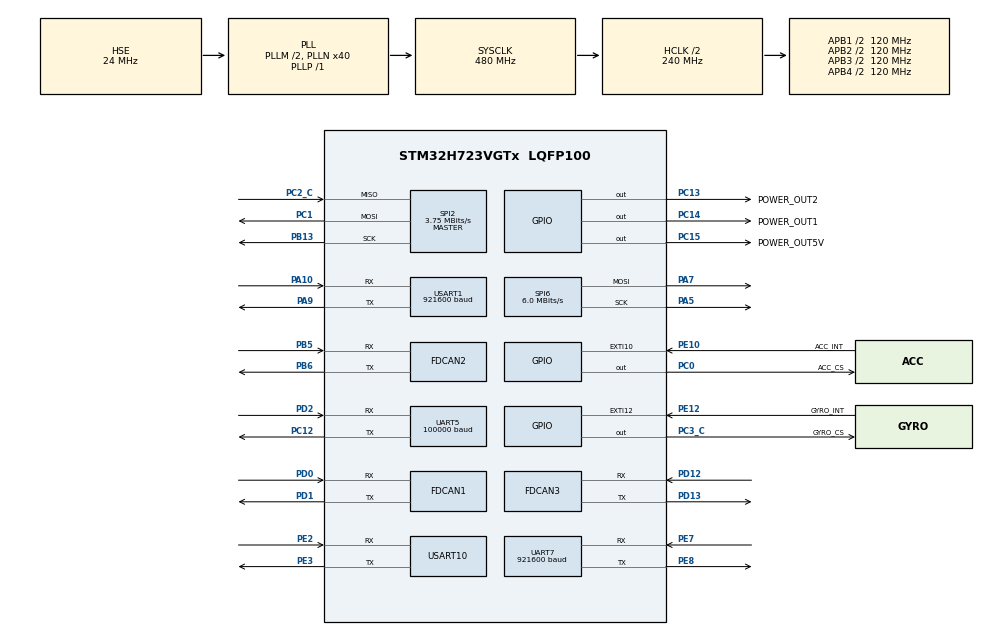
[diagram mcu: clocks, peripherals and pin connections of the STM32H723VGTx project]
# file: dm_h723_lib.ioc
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CORTEX_M7.CPU_ICache=Enabled
CORTEX_M7.default_mode_Activation=0
Dma.Request0=UART5_RX
Dma.Request1=SPI2_RX
Dma.Request2=SPI2_TX
Dma.Request3=UART7_RX
Dma.Request4=UART7_TX
Dma.SPI2_RX.1.Direction=DMA_PERIPH_TO_MEMORY
Dma.SPI2_RX.1.EventEnable=DISABLE
Dma.SPI2_RX.1.FIFOMode=DMA_FIFOMODE_DISABLE
Dma.SPI2_RX.1.Instance=DMA1_Stream0
Dma.SPI2_RX.1.MemDataAlignment=DMA_MDATAALIGN_BYTE
Dma.SPI2_RX.1.MemInc=DMA_MINC_ENABLE
Dma.SPI2_RX.1.Mode=DMA_NORMAL
Dma.SPI2_RX.1.PeriphDataAlignment=DMA_PDATAALIGN_BYTE
Dma.SPI2_RX.1.PeriphInc=DMA_PINC_DISABLE
Dma.SPI2_RX.1.Polarity=HAL_DMAMUX_REQ_GEN_RISING
Dma.SPI2_RX.1.Priority=DMA_PRIORITY_VERY_HIGH
Dma.SPI2_RX.1.RequestNumber=1
Dma.SPI2_RX.1.SignalID=NONE
Dma.SPI2_RX.1.SyncEnable=DISABLE
Dma.SPI2_RX.1.SyncPolarity=HAL_DMAMUX_SYNC_NO_EVENT
Dma.SPI2_RX.1.SyncRequestNumber=1
Dma.SPI2_RX.1.SyncSignalID=NONE
Dma.SPI2_TX.2.Direction=DMA_MEMORY_TO_PERIPH
Dma.SPI2_TX.2.EventEnable=DISABLE
Dma.SPI2_TX.2.FIFOMode=DMA_FIFOMODE_DISABLE
Dma.SPI2_TX.2.Instance=DMA1_Stream1
Dma.SPI2_TX.2.MemDataAlignment=DMA_MDATAALIGN_BYTE
Dma.SPI2_TX.2.MemInc=DMA_MINC_ENABLE
Dma.SPI2_TX.2.Mode=DMA_NORMAL
Dma.SPI2_TX.2.PeriphDataAlignment=DMA_PDATAALIGN_BYTE
Dma.SPI2_TX.2.PeriphInc=DMA_PINC_DISABLE
Dma.SPI2_TX.2.Polarity=HAL_DMAMUX_REQ_GEN_RISING
Dma.SPI2_TX.2.Priority=DMA_PRIORITY_HIGH
Dma.SPI2_TX.2.RequestNumber=1
Dma.SPI2_TX.2.SignalID=NONE
Dma.SPI2_TX.2.SyncEnable=DISABLE
Dma.SPI2_TX.2.SyncPolarity=HAL_DMAMUX_SYNC_NO_EVENT
Dma.SPI2_TX.2.SyncRequestNumber=1
Dma.SPI2_TX.2.SyncSignalID=NONE
Dma.UART5_RX.0.Direction=DMA_PERIPH_TO_MEMORY
Dma.UART5_RX.0.EventEnable=DISABLE
Dma.UART5_RX.0.FIFOMode=DMA_FIFOMODE_DISABLE
Dma.UART5_RX.0.Instance=DMA1_Stream2
Dma.UART5_RX.0.MemDataAlignment=DMA_MDATAALIGN_BYTE
Dma.UART5_RX.0.MemInc=DMA_MINC_ENABLE
Dma.UART5_RX.0.Mode=DMA_NORMAL
Dma.UART5_RX.0.PeriphDataAlignment=DMA_PDATAALIGN_BYTE
Dma.UART5_RX.0.PeriphInc=DMA_PINC_DISABLE
Dma.UART5_RX.0.Polarity=HAL_DMAMUX_REQ_GEN_RISING
Dma.UART5_RX.0.Priority=DMA_PRIORITY_VERY_HIGH
Dma.UART5_RX.0.RequestNumber=1
Dma.UART5_RX.0.SignalID=NONE
Dma.UART5_RX.0.SyncEnable=DISABLE
Dma.UART5_RX.0.SyncPolarity=HAL_DMAMUX_SYNC_NO_EVENT
Dma.UART5_RX.0.SyncRequestNumber=1
Dma.UART5_RX.0.SyncSignalID=NONE
Dma.UART7_RX.3.Direction=DMA_PERIPH_TO_MEMORY
Dma.UART7_RX.3.EventEnable=DISABLE
Dma.UART7_RX.3.FIFOMode=DMA_FIFOMODE_DISABLE
Dma.UART7_RX.3.Instance=DMA1_Stream3
Dma.UART7_RX.3.MemDataAlignment=DMA_MDATAALIGN_BYTE
Dma.UART7_RX.3.MemInc=DMA_MINC_ENABLE
Dma.UART7_RX.3.Mode=DMA_NORMAL
Dma.UART7_RX.3.PeriphDataAlignment=DMA_PDATAALIGN_BYTE
Dma.UART7_RX.3.PeriphInc=DMA_PINC_DISABLE
Dma.UART7_RX.3.Polarity=HAL_DMAMUX_REQ_GEN_RISING
Dma.UART7_RX.3.Priority=DMA_PRIORITY_VERY_HIGH
Dma.UART7_RX.3.RequestNumber=1
Dma.UART7_RX.3.SignalID=NONE
Dma.UART7_RX.3.SyncEnable=DISABLE
Dma.UART7_RX.3.SyncPolarity=HAL_DMAMUX_SYNC_NO_EVENT
Dma.UART7_RX.3.SyncRequestNumber=1
Dma.UART7_RX.3.SyncSignalID=NONE
Dma.UART7_TX.4.Direction=DMA_MEMORY_TO_PERIPH
Dma.UART7_TX.4.EventEnable=DISABLE
Dma.UART7_TX.4.FIFOMode=DMA_FIFOMODE_DISABLE
Dma.UART7_TX.4.Instance=DMA1_Stream4
Dma.UART7_TX.4.MemDataAlignment=DMA_MDATAALIGN_BYTE
Dma.UART7_TX.4.MemInc=DMA_MINC_ENABLE
Dma.UART7_TX.4.Mode=DMA_NORMAL
Dma.UART7_TX.4.PeriphDataAlignment=DMA_PDATAALIGN_BYTE
Dma.UART7_TX.4.PeriphInc=DMA_PINC_DISABLE
Dma.UART7_TX.4.Polarity=HAL_DMAMUX_REQ_GEN_RISING
Dma.UART7_TX.4.Priority=DMA_PRIORITY_VERY_HIGH
Dma.UART7_TX.4.RequestNumber=1
Dma.UART7_TX.4.SignalID=NONE
Dma.UART7_TX.4.SyncEnable=DISABLE
Dma.UART7_TX.4.SyncPolarity=HAL_DMAMUX_SYNC_NO_EVENT
Dma.UART7_TX.4.SyncRequestNumber=1
Dma.UART7_TX.4.SyncSignalID=NONE
FDCAN1.CalculateBaudRateNominal=1000000
FDCAN1.CalculateTimeBitNominal=1000
FDCAN1.CalculateTimeQuantumNominal=25.0
FDCAN1.DataPrescaler=3
FDCAN1.DataSyncJumpWidth=10
FDCAN1.DataTimeSeg1=29
FDCAN1.DataTimeSeg2=10
FDCAN1.NominalPrescaler=3
FDCAN1.NominalSyncJumpWidth=10
FDCAN1.NominalTimeSeg1=29
FDCAN1.NominalTimeSeg2=10
FDCAN1.RxFifo0ElmtsNbr=32
FDCAN1.StdFiltersNbr=1
FDCAN1.TxFifoQueueElmtsNbr=32
FDCAN2.CalculateBaudRateNominal=1000000
FDCAN2.CalculateTimeBitNominal=1000
FDCAN2.CalculateTimeQuantumNominal=25.0
FDCAN2.DataPrescaler=3
FDCAN2.DataSyncJumpWidth=10
FDCAN2.DataTimeSeg1=29
FDCAN2.DataTimeSeg2=10
FDCAN2.MessageRAMOffset=852
FDCAN2.NominalPrescaler=3
FDCAN2.NominalSyncJumpWidth=10
FDCAN2.NominalTimeSeg1=29
FDCAN2.NominalTimeSeg2=10
FDCAN2.RxFifo0ElmtsNbr=32
FDCAN2.StdFiltersNbr=1
FDCAN2.TxFifoQueueElmtsNbr=32
FDCAN3.CalculateBaudRateNominal=1000000
FDCAN3.CalculateTimeBitNominal=1000
FDCAN3.CalculateTimeQuantumNominal=25.0
FDCAN3.DataPrescaler=3
FDCAN3.DataSyncJumpWidth=10
FDCAN3.DataTimeSeg1=29
FDCAN3.DataTimeSeg2=10
FDCAN3.MessageRAMOffset=1704
FDCAN3.NominalPrescaler=3
FDCAN3.NominalSyncJumpWidth=10
FDCAN3.NominalTimeSeg1=29
FDCAN3.NominalTimeSeg2=10
FDCAN3.RxFifo0ElmtsNbr=32
FDCAN3.StdFiltersNbr=1
FDCAN3.TxFifoQueueElmtsNbr=32
FREERTOS.Tasks01=defaultTask,0,128,StartDefaultTask,Default,NULL,Dynamic,NULL,NULL;debug_uart,-3,1024,DEBUG_UART_TASK,As weak,NULL,Dynamic,NULL,NULL;led,-3,128,LED_TASK,As weak,NULL,Dynamic,NULL,NULL;get_rc,-3,256,GET_RC_TASK,As weak,NULL,Dynamic,NULL,NULL;imu_data,-3,1024,IMU_DATA_GET,As weak,NULL,Dynamic,NULL,NULL;can_sent,-3,256,CAN_SENT_TASK,As weak,NULL,Dynamic,NULL,NULL;shoot_task,-3,128,SHOOT_TASK,As weak,NULL,Dynamic,NULL,NULL;stop_check,-3,128,SHOOOT_STOP_CHECK,As weak,NULL,Dynamic,NULL,NULL;chassis_task,-3,1024,CHASSIS_TASK,As weak,NULL,Dynamic,NULL,NULL;error_check,-3,256,ERROR_DETECTION,As weak,NULL,Dynamic,NULL,NULL;board_communica,-3,256,BOARD_COMMUNICATION_TASK,As weak,NULL,Dynamic,NULL,NULL
FREERTOS.configTOTAL_HEAP_SIZE=30000
FREERTOS.configUSE_NEWLIB_REENTRANT=1
Mcu.Family=STM32H7
Mcu.Name=STM32H723VGTx
Mcu.Package=LQFP100
NVIC.DMA1_Stream0_IRQn=true\:5\:0\:false\:false\:true\:true\:false\:true\:true
NVIC.DMA1_Stream1_IRQn=true\:5\:0\:false\:false\:true\:true\:false\:true\:true
NVIC.DMA1_Stream2_IRQn=true\:5\:0\:false\:false\:true\:true\:false\:true\:true
NVIC.DMA1_Stream3_IRQn=true\:5\:0\:false\:false\:true\:true\:false\:true\:true
NVIC.DMA1_Stream4_IRQn=true\:5\:0\:false\:false\:true\:true\:false\:true\:true
NVIC.FDCAN1_IT0_IRQn=true\:5\:0\:false\:false\:true\:true\:true\:true\:true
NVIC.FDCAN2_IT0_IRQn=true\:5\:0\:false\:false\:true\:true\:true\:true\:true
NVIC.FDCAN3_IT0_IRQn=true\:5\:0\:false\:false\:true\:true\:true\:true\:true
NVIC.PriorityGroup=NVIC_PRIORITYGROUP_4
NVIC.SPI2_IRQn=true\:5\:0\:false\:false\:true\:true\:true\:true\:true
NVIC.TIM7_IRQn=true\:15\:0\:false\:false\:true\:false\:false\:true\:true
NVIC.TimeBase=TIM7_IRQn
NVIC.TimeBaseIP=TIM7
NVIC.UART5_IRQn=true\:5\:0\:false\:false\:true\:true\:true\:true\:true
NVIC.UART7_IRQn=true\:5\:0\:false\:false\:true\:true\:true\:true\:true
NVIC.USART10_IRQn=true\:5\:0\:false\:false\:true\:true\:true\:true\:true
PA10.Mode=Asynchronous
PA10.Signal=USART1_RX
PA13(JTMS/SWDIO).Mode=Serial_Wire
PA13(JTMS/SWDIO).Signal=DEBUG_JTMS-SWDIO
PA14(JTCK/SWCLK).Mode=Serial_Wire
PA14(JTCK/SWCLK).Signal=DEBUG_JTCK-SWCLK
PA5.Mode=TX_Only_Simplex_Unidirect_Master
PA5.Signal=SPI6_SCK
PA7.Mode=TX_Only_Simplex_Unidirect_Master
PA7.Signal=SPI6_MOSI
PA9.Mode=Asynchronous
PA9.Signal=USART1_TX
PB13.Mode=Full_Duplex_Master
PB13.Signal=SPI2_SCK
PB5.Mode=FDCAN_Activate
PB5.Signal=FDCAN2_RX
PB6.Mode=FDCAN_Activate
PB6.Signal=FDCAN2_TX
PC0.GPIO_Label=ACC_CS
PC0.GPIO_Speed=GPIO_SPEED_FREQ_VERY_HIGH
PC0.PinState=GPIO_PIN_SET
PC0.Signal=GPIO_Output
PC1.Mode=Full_Duplex_Master
PC1.Signal=SPI2_MOSI
PC12.Mode=Asynchronous
PC12.Signal=UART5_TX
PC13.GPIO_Label=POWER_OUT2
PC13.PinState=GPIO_PIN_SET
PC13.Signal=GPIO_Output
PC14-OSC32_IN.GPIO_Label=POWER_OUT1
PC14-OSC32_IN.PinState=GPIO_PIN_SET
PC14-OSC32_IN.Signal=GPIO_Output
PC15-OSC32_OUT.GPIO_Label=POWER_OUT5V
PC15-OSC32_OUT.PinState=GPIO_PIN_SET
PC15-OSC32_OUT.Signal=GPIO_Output
PC2_C.Mode=Full_Duplex_Master
PC2_C.Signal=SPI2_MISO
PC3_C.GPIO_Label=GYRO_CS
PC3_C.GPIO_Speed=GPIO_SPEED_FREQ_VERY_HIGH
PC3_C.PinState=GPIO_PIN_SET
PC3_C.Signal=GPIO_Output
PD0.Mode=FDCAN_Activate
PD0.Signal=FDCAN1_RX
PD1.Mode=FDCAN_Activate
PD1.Signal=FDCAN1_TX
PD12.Mode=FDCAN_Activate
PD12.Signal=FDCAN3_RX
PD13.Mode=FDCAN_Activate
PD13.Signal=FDCAN3_TX
PD2.Mode=Asynchronous
PD2.Signal=UART5_RX
PE10.GPIO_Label=ACC_INT
PE10.Signal=GPXTI10
PE12.GPIO_Label=GYRO_INT
PE12.Signal=GPXTI12
PE2.Mode=Asynchronous
PE2.Signal=USART10_RX
PE3.Mode=Asynchronous
PE3.Signal=USART10_TX
PE7.Mode=Asynchronous
PE7.Signal=UART7_RX
PE8.Mode=Asynchronous
PE8.Signal=UART7_TX
PH0-OSC_IN.Mode=HSE-External-Oscillator
PH0-OSC_IN.Signal=RCC_OSC_IN
PH1-OSC_OUT.Mode=HSE-External-Oscillator
PH1-OSC_OUT.Signal=RCC_OSC_OUT
ProjectManager.HeapSize=0x200
ProjectManager.StackSize=0x400
ProjectManager.TargetToolchain=STM32CubeIDE
RCC.ADCFreq_Value=96000000
RCC.APB1Freq_Value=120000000
RCC.APB2Freq_Value=120000000
RCC.APB3Freq_Value=120000000
RCC.APB4Freq_Value=120000000
RCC.CortexFreq_Value=480000000
RCC.D1PPRE=RCC_APB3_DIV2
RCC.D2PPRE1=RCC_APB1_DIV2
RCC.D2PPRE2=RCC_APB2_DIV2
RCC.D3PPRE=RCC_APB4_DIV2
RCC.DIVM1=2
RCC.DIVM2=2
RCC.DIVN1=40
RCC.DIVN2=16
RCC.DIVP1=1
RCC.DIVQ1=4
RCC.HCLKFreq_Value=240000000
RCC.HPRE=RCC_HCLK_DIV2
RCC.HSE_VALUE=24000000
RCC.PLL2FRACN=0
RCC.PLL3FRACN=0
RCC.PLLFRACN=0
RCC.PLLSourceVirtual=RCC_PLLSOURCE_HSE
RCC.SPI6CLockSelection=RCC_SPI6CLKSOURCE_HSE
RCC.SYSCLKFreq_VALUE=480000000
RCC.SYSCLKSource=RCC_SYSCLKSOURCE_PLLCLK
RCC.USBFreq_Value=120000000
SPI2.BaudRatePrescaler=SPI_BAUDRATEPRESCALER_32
SPI2.CLKPhase=SPI_PHASE_2EDGE
SPI2.CLKPolarity=SPI_POLARITY_HIGH
SPI2.CalculateBaudRate=3.75 MBits/s
SPI2.DataSize=SPI_DATASIZE_8BIT
SPI2.Direction=SPI_DIRECTION_2LINES
SPI2.Mode=SPI_MODE_MASTER
SPI2.VirtualType=VM_MASTER
SPI6.BaudRatePrescaler=SPI_BAUDRATEPRESCALER_4
SPI6.CLKPhase=SPI_PHASE_2EDGE
SPI6.CalculateBaudRate=6.0 MBits/s
SPI6.DataSize=SPI_DATASIZE_8BIT
SPI6.Direction=SPI_DIRECTION_2LINES_TXONLY
SPI6.Mode=SPI_MODE_MASTER
SPI6.VirtualType=VM_MASTER
UART5.BaudRate=100000
UART5.Mode=MODE_TX_RX
UART5.Parity=PARITY_EVEN
UART5.StopBits=UART_STOPBITS_2
UART5.WordLength=WORDLENGTH_9B
UART7.BaudRate=921600
USART1.BaudRate=921600
USART1.VirtualMode-Asynchronous=VM_ASYNC
USART10.VirtualMode=VM_ASYNC
VP_FREERTOS_VS_CMSIS_V1.Mode=CMSIS_V1
VP_MEMORYMAP_VS_MEMORYMAP.Mode=CurAppReg
VP_SYS_VS_tim7.Mode=TIM7
board=custom

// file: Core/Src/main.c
/* USER CODE BEGIN Header */
/**
  ******************************************************************************
  * @file           : main.c
  * @brief          : Main program body
  ******************************************************************************
  * @attention
  *
  * Copyright (c) 2026 STMicroelectronics.
  * All rights reserved.
  *
  * This software is licensed under terms that can be found in the LICENSE file
  * in the root directory of this software component.
  * If no LICENSE file comes with this software, it is provided AS-IS.
  *
  ******************************************************************************
  */
/* USER CODE END Header */
#include "main.h"
#include "cmsis_os.h"
#include "dma.h"
#include "fdcan.h"
#include "memorymap.h"
#include "spi.h"
#include "usart.h"
#include "gpio.h"

/* USER CODE BEGIN Includes */
#include "ws2812.h"
#include "uart_printf.h"
#include "remote_control.h"
#include "BMI088driver.h"
#include "bsp_can.h"
#include "dm_motor.h"
/* USER CODE END Includes */

/* USER CODE BEGIN PV */
float gyro[3], accel[3], temp;
float INS_quat[4] = {1.0f, 0.0f, 0.0f, 0.0f};
float INS_angle[3] = {0.0f, 0.0f, 0.0f};
float INS_degree[3] = {0.0f, 0.0f, 0.0f};

int16_t CHASSIS_3508_ID1_GIVEN_CURRENT = 0;
int16_t CHASSIS_3508_ID2_GIVEN_CURRENT = 0;
int16_t CHASSIS_3508_ID3_GIVEN_CURRENT = 0;
int16_t CHASSIS_3508_ID4_GIVEN_CURRENT = 0;
int16_t CHASSIS_3508_ID5_GIVEN_CURRENT = 0;
int16_t CHASSIS_3508_ID6_GIVEN_CURRENT = 0;

float CHASSIS_3508_ID1_GIVEN_SPEED = 0;
float CHASSIS_3508_ID2_GIVEN_SPEED = 0;
float CHASSIS_3508_ID3_GIVEN_SPEED = 0;
float CHASSIS_3508_ID4_GIVEN_SPEED = 0;
float CHASSIS_3508_ID5_GIVEN_SPEED = 0;
float CHASSIS_3508_ID6_GIVEN_SPEED = 0;

float chassis_wheel_vx = 0.0f;
float chassis_wheel_vy = 0.0f;
float chassis_wheel_vround = 0.0f;
float chassis_track_vx = 0.0f;
float chassis_track_vround = 0.0f;

/* USER CODE END PV */

void SystemClock_Config(void);
void MX_FREERTOS_Init(void);

int main(void)
{

  /* Enable the CPU Cache */

  /* Enable I-Cache---------------------------------------------------------*/
  SCB_EnableICache();

  /* MCU Configuration--------------------------------------------------------*/

  /* Reset of all peripherals, Initializes the Flash interface and the Systick. */
  HAL_Init();

  /* Configure the system clock */
  SystemClock_Config();

  /* Initialize all configured peripherals */
  MX_GPIO_Init();
  MX_DMA_Init();
  MX_SPI6_Init();
  MX_USART1_UART_Init();
  MX_UART5_Init();
  MX_SPI2_Init();
  MX_FDCAN1_Init();
  MX_FDCAN2_Init();
  MX_FDCAN3_Init();
  MX_UART7_Init();
  MX_USART10_UART_Init();
  /* USER CODE BEGIN 2 */

    while(BMI088_init());

    //about remote control
#if REMOTE_TYPE == SBUS
    HAL_UARTEx_ReceiveToIdle_DMA(&huart5, rx_subs_buff, SBUS_BUFF_SIZE * 2);
#endif

#if REMOTE_TYPE == DBUS
    HAL_UARTEx_ReceiveToIdle_DMA(&huart5, rx_dbus_buff, DBUS_BUFF_SIZE);
#endif

    HAL_UARTEx_ReceiveToIdle_DMA(&huart7, rx_VTM_buff, VTM_ALL_BUFF_SIZE);

    BSP_FDCAN_Init();

  /* USER CODE END 2 */

  /* Call init function for freertos objects (in cmsis_os2.c) */
  MX_FREERTOS_Init();

  /* Start scheduler */
  osKernelStart();

  /* We should never get here as control is now taken by the scheduler */

  /* Infinite loop */
  while (1)
  {

  }
}

void SystemClock_Config(void)
{
  RCC_OscInitTypeDef RCC_OscInitStruct = {0};
  RCC_ClkInitTypeDef RCC_ClkInitStruct = {0};

  /** Supply configuration update enable
  */
  HAL_PWREx_ConfigSupply(PWR_LDO_SUPPLY);

  /** Configure the main internal regulator output voltage
  */
  __HAL_PWR_VOLTAGESCALING_CONFIG(PWR_REGULATOR_VOLTAGE_SCALE0);

  while(!__HAL_PWR_GET_FLAG(PWR_FLAG_VOSRDY)) {}

  /** Initializes the RCC Oscillators according to the specified parameters
  * in the RCC_OscInitTypeDef structure.
  */
  RCC_OscInitStruct.OscillatorType = RCC_OSCILLATORTYPE_HSE;
  RCC_OscInitStruct.HSEState = RCC_HSE_ON;
  RCC_OscInitStruct.PLL.PLLState = RCC_PLL_ON;
  RCC_OscInitStruct.PLL.PLLSource = RCC_PLLSOURCE_HSE;
  RCC_OscInitStruct.PLL.PLLM = 2;
  RCC_OscInitStruct.PLL.PLLN = 40;
  RCC_OscInitStruct.PLL.PLLP = 1;
  RCC_OscInitStruct.PLL.PLLQ = 4;
  RCC_OscInitStruct.PLL.PLLR = 2;
  RCC_OscInitStruct.PLL.PLLRGE = RCC_PLL1VCIRANGE_3;
  RCC_OscInitStruct.PLL.PLLVCOSEL = RCC_PLL1VCOWIDE;
  RCC_OscInitStruct.PLL.PLLFRACN = 0;
  if (HAL_RCC_OscConfig(&RCC_OscInitStruct) != HAL_OK)
  {
    Error_Handler();
  }

  /** Initializes the CPU, AHB and APB buses clocks
  */
  RCC_ClkInitStruct.ClockType = RCC_CLOCKTYPE_HCLK|RCC_CLOCKTYPE_SYSCLK
                              |RCC_CLOCKTYPE_PCLK1|RCC_CLOCKTYPE_PCLK2
                              |RCC_CLOCKTYPE_D3PCLK1|RCC_CLOCKTYPE_D1PCLK1;
  RCC_ClkInitStruct.SYSCLKSource = RCC_SYSCLKSOURCE_PLLCLK;
  RCC_ClkInitStruct.SYSCLKDivider = RCC_SYSCLK_DIV1;
  RCC_ClkInitStruct.AHBCLKDivider = RCC_HCLK_DIV2;
  RCC_ClkInitStruct.APB3CLKDivider = RCC_APB3_DIV2;
  RCC_ClkInitStruct.APB1CLKDivider = RCC_APB1_DIV2;
  RCC_ClkInitStruct.APB2CLKDivider = RCC_APB2_DIV2;
  RCC_ClkInitStruct.APB4CLKDivider = RCC_APB4_DIV2;

  if (HAL_RCC_ClockConfig(&RCC_ClkInitStruct, FLASH_LATENCY_3) != HAL_OK)
  {
    Error_Handler();
  }
}

void HAL_TIM_PeriodElapsedCallback(TIM_HandleTypeDef *htim)
{
  if (htim->Instance == TIM7) {
    HAL_IncTick();
  }
}

void Error_Handler(void)
{
  __disable_irq();
  while (1)
  {
  }
}

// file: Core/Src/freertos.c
/* USER CODE BEGIN Header */
/**
  ******************************************************************************
  * File Name          : freertos.c
  * Description        : Code for freertos applications
  ******************************************************************************
  * @attention
  *
  * Copyright (c) 2026 STMicroelectronics.
  * All rights reserved.
  *
  * This software is licensed under terms that can be found in the LICENSE file
  * in the root directory of this software component.
  * If no LICENSE file comes with this software, it is provided AS-IS.
  *
  ******************************************************************************
  */
/* USER CODE END Header */

#include "FreeRTOS.h"
#include "task.h"
#include "main.h"
#include "cmsis_os.h"

osThreadId defaultTaskHandle;
osThreadId debug_uartHandle;
osThreadId ledHandle;
osThreadId get_rcHandle;
osThreadId imu_dataHandle;
osThreadId can_sentHandle;
osThreadId shoot_taskHandle;
osThreadId stop_checkHandle;
osThreadId chassis_taskHandle;
osThreadId error_checkHandle;

void StartDefaultTask(void const * argument);
void DEBUG_UART_TASK(void const * argument);
void LED_TASK(void const * argument);
void GET_RC_TASK(void const * argument);
void IMU_DATA_GET(void const * argument);
void CAN_SENT_TASK(void const * argument);
void SHOOT_TASK(void const * argument);
void SHOOOT_STOP_CHECK(void const * argument);
void CHASSIS_TASK(void const * argument);
void ERROR_DETECTION(void const * argument);

void MX_FREERTOS_Init(void); /* (MISRA C 2004 rule 8.1) */

/* GetIdleTaskMemory prototype (linked to static allocation support) */
void vApplicationGetIdleTaskMemory( StaticTask_t **ppxIdleTaskTCBBuffer, StackType_t **ppxIdleTaskStackBuffer, uint32_t *pulIdleTaskStackSize );

/* USER CODE BEGIN GET_IDLE_TASK_MEMORY */
static StaticTask_t xIdleTaskTCBBuffer;
static StackType_t xIdleStack[configMINIMAL_STACK_SIZE];

void vApplicationGetIdleTaskMemory( StaticTask_t **ppxIdleTaskTCBBuffer, StackType_t **ppxIdleTaskStackBuffer, uint32_t *pulIdleTaskStackSize )
{
  *ppxIdleTaskTCBBuffer = &xIdleTaskTCBBuffer;
  *ppxIdleTaskStackBuffer = &xIdleStack[0];
  *pulIdleTaskStackSize = configMINIMAL_STACK_SIZE;
  /* place for user code */
}
/* USER CODE END GET_IDLE_TASK_MEMORY */

void MX_FREERTOS_Init(void) {

  /* Create the thread(s) */
  /* definition and creation of defaultTask */
  osThreadDef(defaultTask, StartDefaultTask, osPriorityNormal, 0, 128);
  defaultTaskHandle = osThreadCreate(osThread(defaultTask), NULL);

  /* definition and creation of debug_uart */
  osThreadDef(debug_uart, DEBUG_UART_TASK, osPriorityIdle, 0, 1024);
  debug_uartHandle = osThreadCreate(osThread(debug_uart), NULL);

  /* definition and creation of led */
  osThreadDef(led, LED_TASK, osPriorityIdle, 0, 128);
  ledHandle = osThreadCreate(osThread(led), NULL);

  /* definition and creation of get_rc */
  osThreadDef(get_rc, GET_RC_TASK, osPriorityIdle, 0, 256);
  get_rcHandle = osThreadCreate(osThread(get_rc), NULL);

  /* definition and creation of imu_data */
  osThreadDef(imu_data, IMU_DATA_GET, osPriorityIdle, 0, 1024);
  imu_dataHandle = osThreadCreate(osThread(imu_data), NULL);

  /* definition and creation of can_sent */
  osThreadDef(can_sent, CAN_SENT_TASK, osPriorityIdle, 0, 256);
  can_sentHandle = osThreadCreate(osThread(can_sent), NULL);

  /* definition and creation of shoot_task */
  osThreadDef(shoot_task, SHOOT_TASK, osPriorityIdle, 0, 128);
  shoot_taskHandle = osThreadCreate(osThread(shoot_task), NULL);

  /* definition and creation of stop_check */
  osThreadDef(stop_check, SHOOOT_STOP_CHECK, osPriorityIdle, 0, 128);
  stop_checkHandle = osThreadCreate(osThread(stop_check), NULL);

  /* definition and creation of chassis_task */
  osThreadDef(chassis_task, CHASSIS_TASK, osPriorityIdle, 0, 1024);
  chassis_taskHandle = osThreadCreate(osThread(chassis_task), NULL);

  /* definition and creation of error_check */
  osThreadDef(error_check, ERROR_DETECTION, osPriorityIdle, 0, 256);
  error_checkHandle = osThreadCreate(osThread(error_check), NULL);

}

void StartDefaultTask(void const * argument)
{
  for(;;)
  {
    osDelay(1);
  }
}

__weak void DEBUG_UART_TASK(void const * argument)
{
  for(;;)
  {
    osDelay(1);
  }
}

__weak void LED_TASK(void const * argument)
{
  for(;;)
  {
    osDelay(1);
  }
}

__weak void GET_RC_TASK(void const * argument)
{
  for(;;)
  {
    osDelay(1);
  }
}

__weak void IMU_DATA_GET(void const * argument)
{
  for(;;)
  {
    osDelay(1);
  }
}

__weak void CAN_SENT_TASK(void const * argument)
{
  for(;;)
  {
    osDelay(1);
  }
}

__weak void SHOOT_TASK(void const * argument)
{
  for(;;)
  {
    osDelay(1);
  }
}

__weak void SHOOOT_STOP_CHECK(void const * argument)
{
  for(;;)
  {
    osDelay(1);
  }
}

__weak void CHASSIS_TASK(void const * argument)
{
  for(;;)
  {
    osDelay(1);
  }
}

__weak void ERROR_DETECTION(void const * argument)
{
  for(;;)
  {
    osDelay(1);
  }
}
